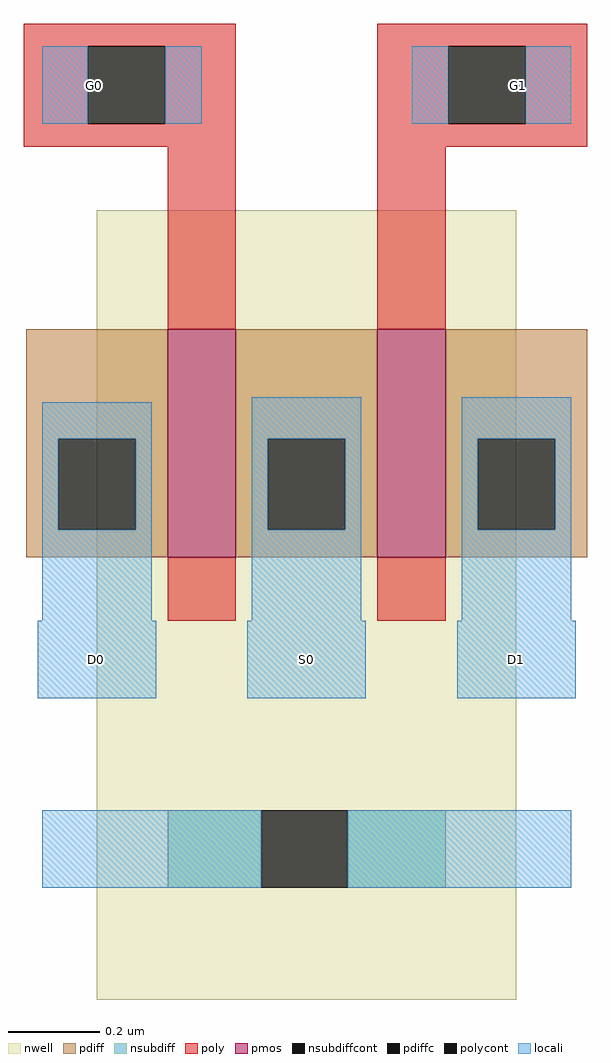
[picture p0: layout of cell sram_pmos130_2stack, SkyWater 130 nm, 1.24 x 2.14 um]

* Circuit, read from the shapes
.subckt sram_pmos130_2stack D0 D1 G0 G1 S0
XM1 S0 G0 D0 n1 sky130_fd_pr__pfet_01v8 w=0.5 l=0.15
XM2 D1 G1 S0 n1 sky130_fd_pr__pfet_01v8 w=0.5 l=0.15
.ends

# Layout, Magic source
magic
tech sky130A
magscale 1 2
<< nwell >>
rect 0 -66 184 280
<< pmos >>
rect 31 128 61 228
rect 123 128 153 228
<< pdiff >>
rect -31 180 31 228
rect -31 140 -17 180
rect 17 140 31 180
rect -31 128 31 140
rect 61 180 123 228
rect 61 140 75 180
rect 109 140 123 180
rect 61 128 123 140
rect 153 180 215 228
rect 153 140 167 180
rect 201 140 215 180
rect 153 128 215 140
<< pdiffc >>
rect -17 140 17 180
rect 75 140 109 180
rect 167 140 201 180
<< nsubdiff >>
rect 31 -17 72 17
rect 110 -17 153 17
<< nsubdiffcont >>
rect 72 -17 110 17
<< poly >>
rect -32 352 61 362
rect -32 318 -4 352
rect 30 318 61 352
rect -32 308 61 318
rect 31 228 61 308
rect 123 352 215 362
rect 123 318 154 352
rect 188 318 215 352
rect 123 308 215 318
rect 123 228 153 308
rect 31 100 61 128
rect 123 100 153 128
<< polycont >>
rect -4 318 30 352
rect 154 318 188 352
<< locali >>
rect -24 318 -4 352
rect 30 318 46 352
rect 138 318 154 352
rect 188 318 208 352
rect -24 180 24 196
rect -24 140 -17 180
rect 17 140 24 180
rect -24 100 24 140
rect 68 180 116 198
rect 68 140 75 180
rect 109 140 116 180
rect 68 100 116 140
rect 160 180 208 198
rect 160 140 167 180
rect 201 140 208 180
rect 160 100 208 140
rect -26 66 26 100
rect 66 66 118 100
rect 158 66 210 100
rect -24 -17 72 17
rect 110 -17 208 17
<< labels >>
flabel locali 162 318 208 352 0 FreeSans 136 0 0 0 G1
flabel locali -24 318 22 352 0 FreeSans 136 0 0 0 G0
flabel locali 158 66 210 100 0 FreeSans 136 0 0 0 D1
flabel locali -26 66 26 100 0 FreeSans 136 0 0 0 D0
flabel locali 66 66 118 100 0 FreeSans 136 0 0 0 S0
<< properties >>
string FIXED_BBOX 0 0 184 415
<< end >>
